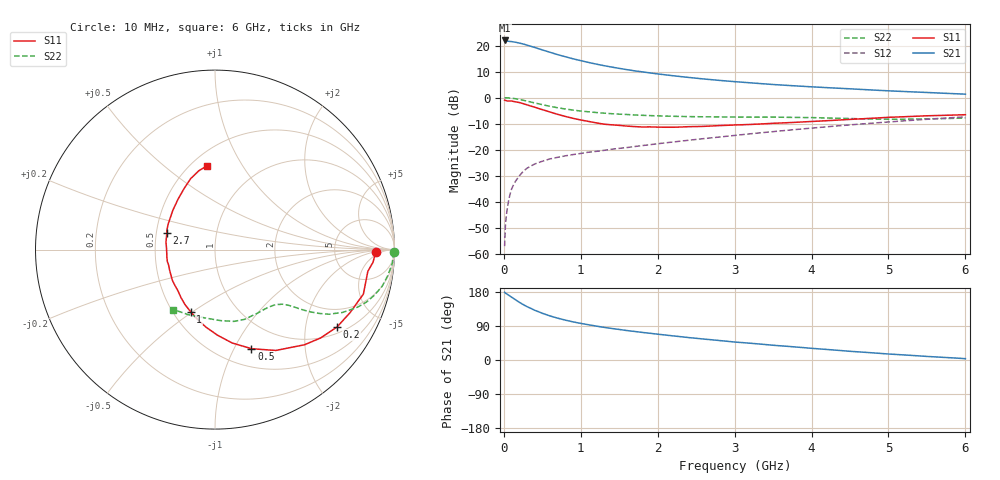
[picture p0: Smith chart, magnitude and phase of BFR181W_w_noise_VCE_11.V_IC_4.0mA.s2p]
! Infineon Technologies  Discrete & RF Semiconductors
! BFR181W
! VCE =  11. V,  IC =  4.0 mA
! Common Emitter S-Parameters:  Jan 2017
# GHz  S  MA  R  50
!  f  S11  S21  S12  S22
! GHz  MAG  ANG  MAG  ANG  MAG  ANG  MAG  ANG
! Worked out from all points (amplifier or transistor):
!   77 points, 10 MHz to 6 GHz, reference 50 ohm
!   highest |S21| = 22.0 dB at 10 MHz (marker M1)
!   |S21| within 3 dB of that: start of sweep to 434.3 MHz
!   unconditionally stable (mu >= 1): 1.516 GHz to 3.585 GHz
!   at 130 MHz: K = 0.14, MSG = 27.3 dB, |S12| = -33.3 dB
!   at 2.2 GHz: K = 1.08, MAG = 11.0 dB, |S12| = -17.1 dB
!   at 6 GHz: K = 0.85, MSG = 4.4 dB, |S12| = -7.4 dB
!   lowest NFmin = 0.92 dB at 450 MHz
!   S11 on the Smith chart (normalised r, x): 10 MHz: 18, -2; 200 MHz: 1.22, -3.00; 500 MHz: 0.70, -1.17; 1 GHz: 0.61, -0.49; 2.7 GHz: 0.57, +0.12; 6 GHz: 0.60, +0.72
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0.01  0.896 -0.8  12.53 178.7  0.0014 80.8  0.9975 -0.8
0.03  0.8752 -5.7  12.32 175.3  0.005 91.4  0.9921 -2.4
0.07  0.859 -11.5  12.05 170.0  0.0119 83.3  0.9837 -6.0
0.15  0.8305 -25.0  11.61 159.2  0.0245 75.5  0.9527 -12.5
0.2  0.8054 -32.3  11.17 152.5  0.0312 72.9  0.9235 -16.0
0.25  0.7674 -39.9  10.74 146.4  0.038 69.3  0.8921 -19.2
0.3  0.7276 -46.8  10.21 140.9  0.0439 65.3  0.8566 -22.0
0.4  0.6562 -58.9  9.223 131.3  0.0529 61.2  0.7912 -26.3
0.5  0.588 -69.8  8.25 123.3  0.0599 58.2  0.7314 -29.5
0.6  0.5289 -79.6  7.427 116.3  0.0665 55.8  0.6805 -31.5
0.7  0.4768 -88.4  6.69 110.4  0.0713 54.6  0.6383 -33.0
0.8  0.4347 -96.7  6.099 105.2  0.0761 54.4  0.6041 -34.1
1  0.3716 -111.5  5.129 96.6  0.0846 53.8  0.5519 -35.7
1.1  0.349 -118.6  4.741 93.0  0.0894 54.1  0.5341 -36.3
1.3  0.309 -131.8  4.115 86.2  0.0969 54.4  0.5033 -37.7
1.6  0.2836 -150.0  3.445 77.7  0.1098 56.2  0.4739 -40.1
2.1  0.2696 -175.7  2.739 65.9  0.1352 58.3  0.442 -45.9
2.7  0.2848 160.5  2.211 53.4  0.1689 59.3  0.4269 -54.7
3.1  0.3011 147.9  1.976 45.9  0.1945 59.0  0.4224 -60.7
4.1  0.3539 124.3  1.583 29.3  0.2672 55.5  0.4093 -77.2
5.1  0.4234 107.4  1.33 14.6  0.3488 48.9  0.3843 -101.1
6  0.4698 95.3  1.165 3.5  0.427 41.1  0.4066 -124.8
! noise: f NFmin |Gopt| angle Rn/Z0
0.45  0.92  0.39  16  0.24
0.9  0.97  0.36  31  0.24
1.9  1.4  0.2  79  0.2
2.4  1.56  0.17  94  0.22
